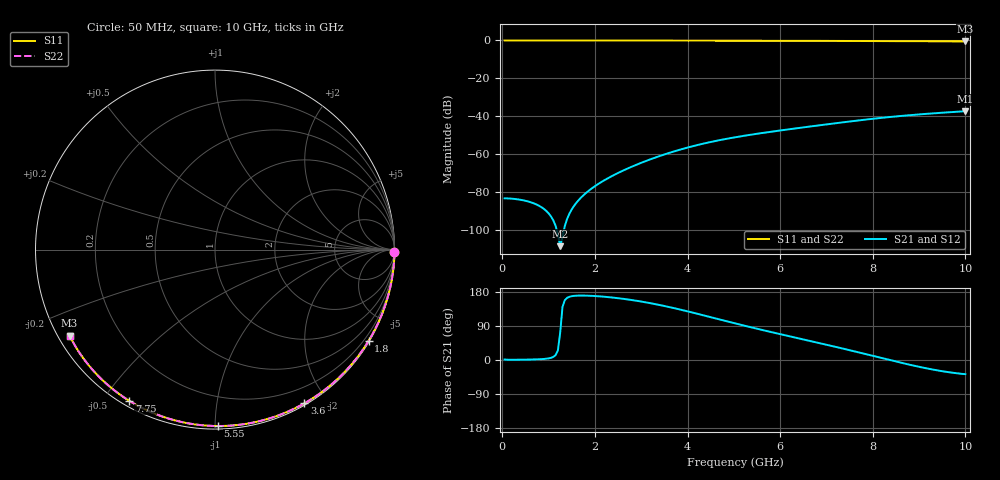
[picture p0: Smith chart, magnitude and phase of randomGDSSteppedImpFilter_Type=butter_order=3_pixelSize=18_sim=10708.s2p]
! freq	dB(S11)	phase(S11)	dB(S12)	phase(S12)
!  dB(S21)	phase(S21)	dB(S22)	phase(S22)
!S-par simulation data
#  GHz  S  DB  R 50
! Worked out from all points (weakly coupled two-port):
!   200 points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, 50 MHz to 10 GHz, reference 50 ohm
!   highest |S21| = -37.29 dB at 10 GHz (marker M1); lowest = -108.4 dB at 1.25 GHz (marker M2)
!   lowest |S11| = -0.5 dB at 10 GHz (marker M3), VSWR 33.01, Z = 1.63 - j13.7 ohm
!   |S11| at or under -10 dB: nowhere
!   |S22| runs from -0.5 to 0.0 dB; largest |S21 - S12| = 0
!   S11 on the Smith chart (normalised r, x): 50 MHz: open; 1.8 GHz: 0.03, -3.64; 3.6 GHz: 0.02, -1.74; 5.55 GHz: 0.02, -1.02; 7.75 GHz: 0.02, -0.58; 10 GHz: 0.03, -0.27
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0.05  -0.00 -0.9  -83.20 1.3  -83.20 1.3  -0.00 -0.9
0.65  -0.01 -11.2  -85.57 1.3  -85.57 1.3  -0.01 -11.2
1.25  -0.02 -21.4  -108.42 71.9  -108.42 71.9  -0.02 -21.4
1.75  -0.04 -29.9  -81.63 170.0  -81.63 170.0  -0.04 -29.9
1.8  -0.04 -30.7  -80.53 169.9  -80.53 169.9  -0.04 -30.7
1.85  -0.04 -31.5  -79.52 169.7  -79.52 169.7  -0.04 -31.5
2  -0.04 -34.0  -76.80 168.8  -76.80 168.8  -0.04 -34.0
2.15  -0.05 -36.5  -74.46 167.5  -74.46 167.5  -0.05 -36.5
2.5  -0.06 -42.3  -69.84 163.1  -69.84 163.1  -0.06 -42.3
2.9  -0.06 -48.7  -65.47 156.3  -65.47 156.3  -0.06 -48.7
3.4  -0.08 -56.7  -60.90 145.1  -60.90 145.1  -0.08 -56.7
3.6  -0.08 -59.8  -59.29 139.9  -59.29 139.9  -0.08 -59.8
3.95  -0.09 -65.3  -56.78 129.9  -56.78 129.9  -0.09 -65.3
4.3  -0.10 -70.6  -54.61 119.3  -54.61 119.3  -0.10 -70.6
5.05  -0.13 -81.8  -50.93 95.9  -50.93 95.9  -0.13 -81.8
5.55  -0.15 -89.1  -49.00 81.0  -49.00 81.0  -0.15 -89.1
6.1  -0.17 -96.9  -47.12 65.4  -47.12 65.4  -0.17 -96.9
6.7  -0.21 -105.2  -45.18 48.8  -45.18 48.8  -0.21 -105.2
7.75  -0.28 -119.5  -41.98 18.5  -41.98 18.5  -0.28 -119.5
8.35  -0.33 -127.5  -40.39 0.4  -40.39 0.4  -0.33 -127.5
9.2  -0.42 -138.8  -38.60 -23.0  -38.60 -23.0  -0.42 -138.8
10  -0.53 -149.4  -37.29 -37.4  -37.29 -37.4  -0.53 -149.4
